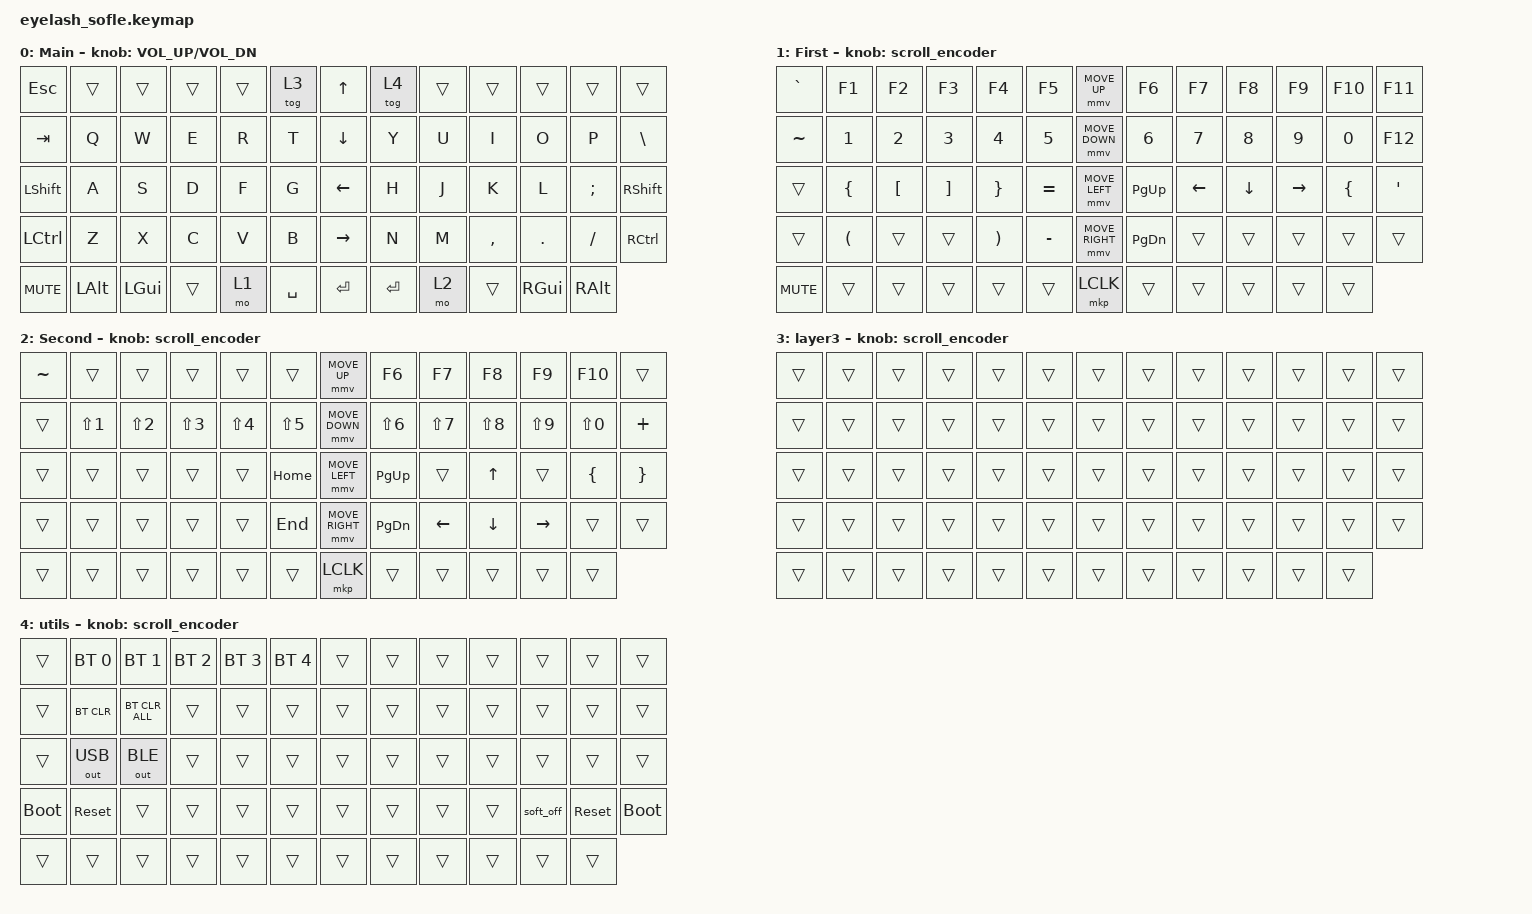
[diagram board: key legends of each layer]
#define ZMK_POINTING_DEFAULT_MOVE_VAL 1200  // 60
#define ZMK_POINTING_DEFAULT_SCRL_VAL 25   // 10

#include <input/processors.dtsi>
#include <zephyr/dt-bindings/input/input-event-codes.h>
#include <behaviors.dtsi>
#include <dt-bindings/zmk/bt.h>
#include <dt-bindings/zmk/keys.h>
#include <dt-bindings/zmk/outputs.h>
#include <dt-bindings/zmk/pointing.h>
#include <dt-bindings/zmk/rgb.h>

&mmv_input_listener { input-processors = <&zip_xy_scaler 2 1>; };

&msc_input_listener { input-processors = <&zip_scroll_scaler 2 1>; };

&msc {
    acceleration-exponent = <1>;      // 0
    time-to-max-speed-ms = <100>;       // 300
    delay-ms = <0>;                   // 0
};

&mmv {
    time-to-max-speed-ms = <500>;
    acceleration-exponent = <1>;
    trigger-period-ms = <16>;
};

// for now the braces and brackets fixed with the zmk studio 
// neet to find more permenanat solution

&soft_off { hold-time-ms = <2000>; };

/ {
    scroll_encoder: scroll_encoder {
        compatible = "zmk,behavior-sensor-rotate";
        #sensor-binding-cells = <0>;
        bindings = <&msc SCRL_DOWN>, <&msc SCRL_UP>;

        tap-ms = <100>;
    };

    behaviors {
    };

    combos {
        compatible = "zmk,combos";

        softoff {
            bindings = <&soft_off>;
            key-positions = <14 28 40>;
        };
    };

    macros {
        SHIFT_MCLK: SHIFT_MCLK {
            compatible = "zmk,behavior-macro";
            #binding-cells = <0>;
            bindings =
                <&macro_press>,
                <&kp LEFT_SHIFT>,
                <&macro_press>,
                <&mkp MB3>,
                <&macro_pause_for_release>,
                <&macro_release>,
                <&kp LEFT_SHIFT &mkp MB3>;

            label = "SHIFT_MCLK";
        };
    };

    keymap {
        compatible = "zmk,keymap";

        layer0 {
            bindings = <
&kp ESC     &trans        &trans        &trans        &trans  &tog 3          &kp UP_ARROW        &tog 4     &trans     &trans     &trans           &trans      &trans
&kp TAB     &kp Q         &kp W         &kp E         &kp R   &kp T           &kp DOWN_ARROW      &kp Y      &kp U      &kp I      &kp O            &kp P       &kp BSLH
&kp LSHFT   &kp A         &kp S         &kp D         &kp F   &kp G           &kp LEFT_ARROW      &kp H      &kp J      &kp K      &kp L            &kp SEMI    &kp RIGHT_SHIFT
&kp LEFT_CONTROL    &kp Z         &kp X         &kp C         &kp V   &kp B           &kp RIGHT_ARROW     &kp N      &kp M      &kp COMMA  &kp DOT          &kp FSLH    &kp RCTRL
&kp C_MUTE  &kp LEFT_ALT  &kp LEFT_GUI  &trans        &mo 1   &kp SPACE       &kp ENTER           &kp ENTER  &mo 2      &trans     &kp RIGHT_GUI    &kp RIGHT_ALT
            >;

            sensor-bindings = <&inc_dec_kp C_VOLUME_UP C_VOL_DN>;
            display-name = "Main";
        };

        layer_1 {
            bindings = <
&kp GRAVE   &kp F1        &kp F2             &kp F3             &kp F4             &kp F5         &mmv MOVE_UP        &kp F6       &kp F7     &kp F8      &kp F9     &kp F10    &kp F11
&kp TILDE   &kp N1        &kp N2             &kp N3             &kp N4             &kp N5         &mmv MOVE_DOWN      &kp N6       &kp N7     &kp N8      &kp N9     &kp N0     &kp F12
&trans      &kp LEFT_BRACE  &kp LEFT_BRACKET  &kp RIGHT_BRACKET  &kp RIGHT_BRACE  &kp EQUAL      &mmv MOVE_LEFT      &kp PG_UP    &kp LEFT   &kp DOWN    &kp RIGHT  &kp LBRC   &kp APOS
&trans      &kp LPAR      &trans             &trans             &kp RPAR           &kp MINUS      &mmv MOVE_RIGHT     &kp PG_DN    &trans     &trans      &trans     &trans     &trans
&kp C_MUTE  &trans        &trans             &trans             &trans             &trans         &mkp LCLK           &trans       &trans     &trans      &trans     &trans
            >;

            display-name = "First";
            sensor-bindings = <&scroll_encoder>;
        };

        layer_2 {
            bindings = <
&kp TILDE  &trans  &trans &trans  &trans  &trans          &mmv MOVE_UP     &kp F6     &kp F7    &kp F8      &kp F9     &kp F10      &trans
&trans     &kp LS(N1)  &kp LS(N2) &kp LS(N3) &kp LS(N4)  &kp LS(N5)         &mmv MOVE_DOWN   &kp LS(N6)     &kp LS(N7) &kp LS(N8)   &kp LS(N9)  &kp LS(N0)    &kp PLUS
&trans     &trans  &trans &trans  &trans  &kp HOME        &mmv MOVE_LEFT   &kp PG_UP  &trans    &kp UP      &trans     &kp LBRC     &kp RBRC
&trans     &trans  &trans &trans  &trans  &kp END         &mmv MOVE_RIGHT  &kp PG_DN  &kp LEFT  &kp DOWN    &kp RIGHT  &trans       &trans
&trans     &trans  &trans &trans  &trans  &trans          &mkp LCLK        &trans     &trans    &trans      &trans     &trans
            >;

            display-name = "Second";
            sensor-bindings = <&scroll_encoder>;
        };

        layer_3 {
            bindings = <
&trans  &trans  &trans  &trans  &trans  &trans    &trans  &trans  &trans  &trans  &trans  &trans  &trans
&trans  &trans  &trans  &trans  &trans  &trans    &trans  &trans  &trans  &trans  &trans  &trans  &trans
&trans  &trans  &trans  &trans  &trans  &trans    &trans  &trans  &trans  &trans  &trans  &trans  &trans
&trans  &trans  &trans  &trans  &trans  &trans    &trans  &trans  &trans  &trans  &trans  &trans  &trans
&trans  &trans  &trans  &trans  &trans  &trans    &trans  &trans  &trans  &trans  &trans  &trans
            >;

            display-name = "layer3";
            sensor-bindings = <&scroll_encoder>;
        };

        layer_4 {
            bindings = <
&trans  &bt BT_SEL 0  &bt BT_SEL 1    &bt BT_SEL 2  &bt BT_SEL 3  &bt BT_SEL 4    &trans  &trans  &trans  &trans  &trans  &trans  &trans
&trans  &bt BT_CLR    &bt BT_CLR_ALL  &trans  &trans  &trans    &trans  &trans  &trans  &trans  &trans  &trans  &trans
&trans   &out OUT_USB  &out OUT_BLE  &trans  &trans  &trans    &trans  &trans  &trans  &trans  &trans  &trans  &trans
&bootloader  &sys_reset  &trans &trans  &trans  &trans    &trans  &trans  &trans  &trans  &soft_off  &sys_reset  &bootloader  
&trans  &trans  &trans  &trans  &trans  &trans    &trans  &trans  &trans  &trans  &trans  &trans
            >;

            display-name = "utils";
            sensor-bindings = <&scroll_encoder>;
        };
    };
};
